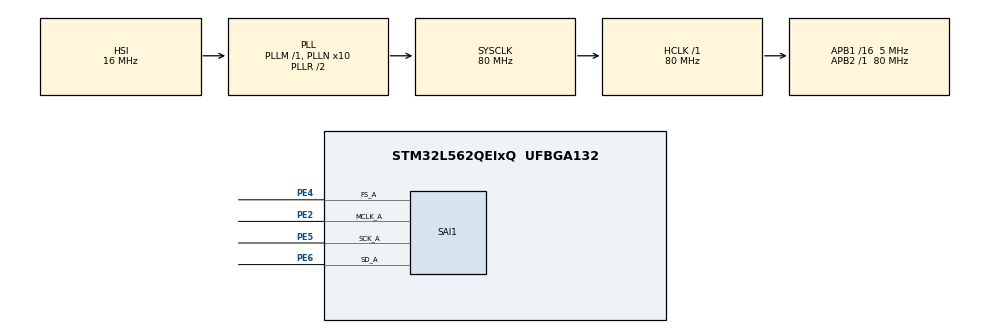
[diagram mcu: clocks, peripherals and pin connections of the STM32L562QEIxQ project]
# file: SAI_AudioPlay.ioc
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Dma.Request0=SAI1_A
Dma.SAI1_A.0.Channel_PRIV_NPRIV=DMA_CHANNEL_NPRIV_DISABLE
Dma.SAI1_A.0.Direction=DMA_MEMORY_TO_PERIPH
Dma.SAI1_A.0.EventEnable=DISABLE
Dma.SAI1_A.0.Instance=DMA2_Channel1
Dma.SAI1_A.0.MemDataAlignment=DMA_MDATAALIGN_HALFWORD
Dma.SAI1_A.0.MemInc=DMA_MINC_ENABLE
Dma.SAI1_A.0.Mode=DMA_CIRCULAR
Dma.SAI1_A.0.PeriphDataAlignment=DMA_PDATAALIGN_HALFWORD
Dma.SAI1_A.0.PeriphInc=DMA_PINC_DISABLE
Dma.SAI1_A.0.Polarity=HAL_DMAMUX_REQ_GEN_RISING
Dma.SAI1_A.0.Priority=DMA_PRIORITY_HIGH
Dma.SAI1_A.0.RequestNumber=1
Dma.SAI1_A.0.SignalID=NONE
Dma.SAI1_A.0.SyncEnable=DISABLE
Dma.SAI1_A.0.SyncPolarity=HAL_DMAMUX_SYNC_NO_EVENT
Dma.SAI1_A.0.SyncRequestNumber=1
Dma.SAI1_A.0.SyncSignalID=NONE
Mcu.Family=STM32L5
Mcu.Name=STM32L562QEIxQ
Mcu.Package=UFBGA132
NVIC.DMA2_Channel1_IRQn=true\:1\:0\:true\:false\:true\:true\:true\:true
NVIC.PriorityGroup=NVIC_PRIORITYGROUP_3
PE2.GPIO_Speed=GPIO_SPEED_FREQ_VERY_HIGH
PE2.Mode=SAI_A_MasterWithClock
PE2.Signal=SAI1_MCLK_A
PE4.GPIO_Speed=GPIO_SPEED_FREQ_VERY_HIGH
PE4.Mode=SAI_A_MasterWithClock
PE4.Signal=SAI1_FS_A
PE5.GPIO_Speed=GPIO_SPEED_FREQ_VERY_HIGH
PE5.Mode=SAI_A_MasterWithClock
PE5.Signal=SAI1_SCK_A
PE6.GPIO_Speed=GPIO_SPEED_FREQ_VERY_HIGH
PE6.Mode=SAI_A_MasterWithClock
PE6.Signal=SAI1_SD_A
ProjectManager.HeapSize=0x200
ProjectManager.StackSize=0x400
ProjectManager.TargetToolchain=EWARM V8.32
RCC.ADCFreq_Value=64500000
RCC.AHBFreq_Value=80000000
RCC.APB1CLKDivider=RCC_HCLK_DIV16
RCC.APB1Freq_Value=5000000
RCC.APB1TimFreq_Value=10000000
RCC.APB2Freq_Value=80000000
RCC.APB2TimFreq_Value=80000000
RCC.CK48CLockSelection=RCC_USBCLKSOURCE_MSI
RCC.CortexFreq_Value=80000000
RCC.HCLKFreq_Value=80000000
RCC.HSE_VALUE=16000000
RCC.HSI48_VALUE=48000000
RCC.HSI_VALUE=16000000
RCC.LSE_VALUE=32768
RCC.MSIClockRange=RCC_MSIRANGE_9
RCC.MSI_VALUE=24000000
RCC.PLLN=10
RCC.PLLSAI1M=8
RCC.PLLSAI1N=43
RCC.PLLSourceVirtual=RCC_PLLSOURCE_HSI
RCC.SYSCLKFreq_VALUE=80000000
RCC.SYSCLKSource=RCC_SYSCLKSOURCE_PLLCLK
RCC.USBFreq_Value=24000000
RCC.VCOOutputFreq_Value=160000000
SAI1.ActiveFrameLength-SAI_A_MasterWithClock=16
SAI1.AudioFrequency-SAI_A_MasterWithClock=SAI_AUDIO_FREQUENCY_22K
SAI1.AudioMode-SAI_A_MasterWithClock=SAI_MODEMASTER_TX
SAI1.ClockStrobing-SAI_A_MasterWithClock=SAI_CLOCKSTROBING_FALLINGEDGE
SAI1.CompandingMode-SAI_A_MasterWithClock=SAI_NOCOMPANDING
SAI1.DataSize-SAI_A_MasterWithClock=SAI_DATASIZE_16
SAI1.ErrorAudioFreq-SAI_A_MasterWithClock=63.6 %
SAI1.FIFOThreshold-SAI_A_MasterWithClock=SAI_FIFOTHRESHOLD_1QF
SAI1.FSDefinition-SAI_A_MasterWithClock=SAI_FS_CHANNEL_IDENTIFICATION
SAI1.FSOffset-SAI_A_MasterWithClock=SAI_FS_BEFOREFIRSTBIT
SAI1.FSPolarity-SAI_A_MasterWithClock=SAI_FS_ACTIVE_LOW
SAI1.FirstBit-SAI_A_MasterWithClock=SAI_FIRSTBIT_MSB
SAI1.FirstBitOffset-SAI_A_MasterWithClock=0
SAI1.FrameLength-SAI_A_MasterWithClock=32
SAI1.Instance-SAI_A_MasterWithClock=SAI$Index_Block_A
SAI1.MckOutput-SAI_A_MasterWithClock=SAI_MCK_OUTPUT_ENABLE
SAI1.MonoStereoMode-SAI_A_MasterWithClock=SAI_STEREOMODE
SAI1.NoDivider-SAI_A_MasterWithClock=SAI_MASTERDIVIDER_ENABLE
SAI1.OutputDrive-SAI_A_MasterWithClock=SAI_OUTPUTDRIVE_ENABLE
SAI1.Protocol-SAI_A_MasterWithClock=SAI_FREE_PROTOCOL
SAI1.RealAudioFreq-SAI_A_MasterWithClock=35.993 KHz
SAI1.SlotActive-SAI_A_MasterWithClock=0x00000003
SAI1.SlotNumber-SAI_A_MasterWithClock=2
SAI1.SlotSize-SAI_A_MasterWithClock=SAI_SLOTSIZE_DATASIZE
SAI1.Synchro_A=SAI_ASYNCHRONOUS
SAI1.TriState-SAI_A_MasterWithClock=SAI_OUTPUT_NOTRELEASED
SAI1.VirtualMode-SAI_A_MasterWithClock=VM_MASTER
SAI1.VirtualSlotActive-SAI_A_MasterWithClock=SAI_SLOT_USERSETTING
SAI1.VirtualSlotActive0-SAI_A_MasterWithClock=true
SAI1.VirtualSlotActive1-SAI_A_MasterWithClock=true
VP_ICACHE_VS_ICACHE.Mode=DirectMappedCache
VP_PWR_VS_DBSignals.Mode=DisableDeadBatterySignals
board=custom

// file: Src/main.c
/* USER CODE BEGIN Header */
/**
  ******************************************************************************
  * @file    SAI/SAI_AudioPlay/Src/stm32l5xx_main.c
  * @author  MCD Application Team
  * @brief   This sample code shows how to use SAI HAL API (SAI instance)
  *          to play an audio file using the DMA circular mode and a
  *          continuous buffer update.
  ******************************************************************************
  * @attention
  *
  * Copyright (c) 2019 STMicroelectronics.
  * All rights reserved.
  *
  * This software is licensed under terms that can be found in the LICENSE file
  * in the root directory of this software component.
  * If no LICENSE file comes with this software, it is provided AS-IS.
  *
  ******************************************************************************
  */
/* USER CODE END Header */
#include "main.h"

/* USER CODE BEGIN Includes */
#include "stm32l562e_discovery.h"
#include "stm32l562e_discovery_bus.h"
#include "audio.h"
#include "../Components/cs42l51/cs42l51.h"
/* USER CODE END Includes */

/* USER CODE BEGIN PD */
#define AUDIO_I2C_ADDRESS    0x94U
#define AUDIO_FREQUENCY_22K 22050U  /* Audio sample rate */
/* USER CODE END PD */

SAI_HandleTypeDef hsai_BlockA1;
DMA_HandleTypeDef hdma_sai1_a;

/* USER CODE BEGIN PV */
#define AUDIO_FILE_ADDRESS   0x08040000
#define AUDIO_FILE_SIZE      (180*1024)
#define PLAY_HEADER          0x2C
#define PLAY_BUFF_SIZE       4096

static void *comp_out_obj= {0};
AUDIO_Drv_t *audio_drv;
CS42L51_IO_t IOCtx;
uint32_t cs42l51_id;
static CS42L51_Object_t CS42L51Obj;
CS42L51_Init_t codec_init;
uint16_t PlayBuff[PLAY_BUFF_SIZE];
__IO int16_t UpdatePointer = -1;
/* USER CODE END PV */

void SystemClock_Config(void);
static void MX_GPIO_Init(void);
static void MX_DMA_Init(void);
static void MX_ICACHE_Init(void);
static void MX_SAI1_Init(void);
/* USER CODE BEGIN PFP */
static void CS42L51_PowerUp(void);
/* USER CODE END PFP */

int main(void)
{
  /* USER CODE BEGIN 1 */
  uint32_t PlaybackPosition = PLAY_BUFF_SIZE + PLAY_HEADER;

  /* STM32L5xx HAL library initialization:
       - Systick timer is configured by default as source of time base, but user
         can eventually implement his proper time base source (a general purpose
         timer for example or other time source), keeping in mind that Time base
         duration should be kept 1ms since PPP_TIMEOUT_VALUEs are defined and
         handled in milliseconds basis.
       - Set NVIC Group Priority to 3
       - Low Level Initialization
     */
  /* USER CODE END 1 */

  /* MCU Configuration--------------------------------------------------------*/

  /* Reset of all peripherals, Initializes the Flash interface and the Systick. */
  HAL_Init();

  /* Configure the system clock */
  SystemClock_Config();

  /* USER CODE BEGIN SysInit */

  /* Configure LED10 */
  BSP_LED_Init(LED10);

  /* Configure LED9 */
  BSP_LED_Init(LED9);

  /* USER CODE END SysInit */

  /* Initialize all configured peripherals */
  MX_GPIO_Init();
  MX_DMA_Init();
  MX_ICACHE_Init();
  MX_SAI1_Init();
  /* USER CODE BEGIN 2 */
  CS42L51_PowerUp();
  /* Configure the audio driver */
  IOCtx.Address     = AUDIO_I2C_ADDRESS;
  IOCtx.Init        = BSP_I2C1_Init;
  IOCtx.DeInit      = BSP_I2C1_DeInit;
  IOCtx.ReadReg     = BSP_I2C1_ReadReg;
  IOCtx.WriteReg    = BSP_I2C1_WriteReg;
  IOCtx.GetTick     = BSP_GetTick;
  if (CS42L51_RegisterBusIO(&CS42L51Obj, &IOCtx) != CS42L51_OK)
  {
    Error_Handler();
  }
  else
  {
    if(CS42L51_ReadID(&CS42L51Obj, &cs42l51_id) != CS42L51_OK)
    {
      Error_Handler();
    }
    else if ((cs42l51_id & CS42L51_ID_MASK) != CS42L51_ID)
    {
      Error_Handler();
    }
    /* Reset the Codec Registers */
    else if (CS42L51_Reset(&CS42L51Obj) != CS42L51_OK)
    {
      Error_Handler();
    }
  }

  audio_drv               = (AUDIO_Drv_t *)&CS42L51_Driver;
  comp_out_obj            = &CS42L51Obj;
  codec_init.Resolution   = CS42L51_RESOLUTION_16B;
  codec_init.Frequency    = AUDIO_FREQUENCY_22K;
  codec_init.InputDevice  = CS42L51_IN_NONE;
  codec_init.OutputDevice = CS42L51_OUT_HEADPHONE;
  codec_init.Volume       = 70;
  if(0 != audio_drv->Init(comp_out_obj, &codec_init))
  {
    Error_Handler();
  }

  /* Check if the buffer has been loaded in flash */
  if(*((uint64_t *)AUDIO_FILE_ADDRESS) != 0x017EFE2446464952 ) Error_Handler();

  /* Initialize the data buffer */
  for(int i=0; i < PLAY_BUFF_SIZE; i+=2)
  {
    PlayBuff[i]=*((__IO uint16_t *)(AUDIO_FILE_ADDRESS + PLAY_HEADER + i));
  }

  /* Start the playback */
  if(0 != audio_drv->Play(&CS42L51Obj))
  {
    Error_Handler();
  }

  if(HAL_OK != HAL_SAI_Transmit_DMA(&hsai_BlockA1, (uint8_t *)PlayBuff, PLAY_BUFF_SIZE))
  {
    Error_Handler();
  }
  /* USER CODE END 2 */

  /* Infinite loop */
  /* USER CODE BEGIN WHILE */
  while (1)
  {
    BSP_LED_Toggle(LED10);

    /* Wait a callback event */
    while(UpdatePointer==-1);

    int position = UpdatePointer;
    UpdatePointer = -1;

    /* Update the first or the second part of the buffer */
    for(int i = 0; i < PLAY_BUFF_SIZE/2; i++)
    {
      PlayBuff[i+position] = *(uint16_t *)(AUDIO_FILE_ADDRESS + PlaybackPosition);
      PlaybackPosition+=2;
    }

    /* check the end of the file */
    if((PlaybackPosition+PLAY_BUFF_SIZE/2) > AUDIO_FILE_SIZE)
    {
      PlaybackPosition = PLAY_HEADER;
    }

    if(UpdatePointer != -1)
    {
      /* Buffer update time is too long compare to the data transfer time */
      Error_Handler();
    }
    /* USER CODE END WHILE */

  }
}

void SystemClock_Config(void)
{
  RCC_OscInitTypeDef RCC_OscInitStruct = {0};
  RCC_ClkInitTypeDef RCC_ClkInitStruct = {0};

  /** Configure the main internal regulator output voltage
  */
  if (HAL_PWREx_ControlVoltageScaling(PWR_REGULATOR_VOLTAGE_SCALE1) != HAL_OK)
  {
    Error_Handler();
  }

  /** Initializes the RCC Oscillators according to the specified parameters
  * in the RCC_OscInitTypeDef structure.
  */
  RCC_OscInitStruct.OscillatorType = RCC_OSCILLATORTYPE_HSI|RCC_OSCILLATORTYPE_MSI;
  RCC_OscInitStruct.HSIState = RCC_HSI_ON;
  RCC_OscInitStruct.HSICalibrationValue = RCC_HSICALIBRATION_DEFAULT;
  RCC_OscInitStruct.MSIState = RCC_MSI_ON;
  RCC_OscInitStruct.MSICalibrationValue = RCC_MSICALIBRATION_DEFAULT;
  RCC_OscInitStruct.MSIClockRange = RCC_MSIRANGE_9;
  RCC_OscInitStruct.PLL.PLLState = RCC_PLL_ON;
  RCC_OscInitStruct.PLL.PLLSource = RCC_PLLSOURCE_HSI;
  RCC_OscInitStruct.PLL.PLLM = 1;
  RCC_OscInitStruct.PLL.PLLN = 10;
  RCC_OscInitStruct.PLL.PLLP = RCC_PLLP_DIV7;
  RCC_OscInitStruct.PLL.PLLQ = RCC_PLLQ_DIV2;
  RCC_OscInitStruct.PLL.PLLR = RCC_PLLR_DIV2;
  if (HAL_RCC_OscConfig(&RCC_OscInitStruct) != HAL_OK)
  {
    Error_Handler();
  }

  /** Initializes the CPU, AHB and APB buses clocks
  */
  RCC_ClkInitStruct.ClockType = RCC_CLOCKTYPE_HCLK|RCC_CLOCKTYPE_SYSCLK
                              |RCC_CLOCKTYPE_PCLK1|RCC_CLOCKTYPE_PCLK2;
  RCC_ClkInitStruct.SYSCLKSource = RCC_SYSCLKSOURCE_PLLCLK;
  RCC_ClkInitStruct.AHBCLKDivider = RCC_SYSCLK_DIV1;
  RCC_ClkInitStruct.APB1CLKDivider = RCC_HCLK_DIV16;
  RCC_ClkInitStruct.APB2CLKDivider = RCC_HCLK_DIV1;

  if (HAL_RCC_ClockConfig(&RCC_ClkInitStruct, FLASH_LATENCY_3) != HAL_OK)
  {
    Error_Handler();
  }
}

static void MX_ICACHE_Init(void)
{

  /** Enable instruction cache in 1-way (direct mapped cache)
  */
  if (HAL_ICACHE_ConfigAssociativityMode(ICACHE_1WAY) != HAL_OK)
  {
    Error_Handler();
  }
  if (HAL_ICACHE_Enable() != HAL_OK)
  {
    Error_Handler();
  }

}

static void MX_SAI1_Init(void)
{

  hsai_BlockA1.Instance = SAI1_Block_A;
  hsai_BlockA1.Init.Protocol = SAI_FREE_PROTOCOL;
  hsai_BlockA1.Init.AudioMode = SAI_MODEMASTER_TX;
  hsai_BlockA1.Init.DataSize = SAI_DATASIZE_16;
  hsai_BlockA1.Init.FirstBit = SAI_FIRSTBIT_MSB;
  hsai_BlockA1.Init.ClockStrobing = SAI_CLOCKSTROBING_FALLINGEDGE;
  hsai_BlockA1.Init.Synchro = SAI_ASYNCHRONOUS;
  hsai_BlockA1.Init.OutputDrive = SAI_OUTPUTDRIVE_ENABLE;
  hsai_BlockA1.Init.NoDivider = SAI_MASTERDIVIDER_ENABLE;
  hsai_BlockA1.Init.FIFOThreshold = SAI_FIFOTHRESHOLD_1QF;
  hsai_BlockA1.Init.AudioFrequency = SAI_AUDIO_FREQUENCY_22K;
  hsai_BlockA1.Init.SynchroExt = SAI_SYNCEXT_DISABLE;
  hsai_BlockA1.Init.MonoStereoMode = SAI_STEREOMODE;
  hsai_BlockA1.Init.CompandingMode = SAI_NOCOMPANDING;
  hsai_BlockA1.Init.TriState = SAI_OUTPUT_NOTRELEASED;
  hsai_BlockA1.Init.PdmInit.Activation = DISABLE;
  hsai_BlockA1.Init.PdmInit.MicPairsNbr = 1;
  hsai_BlockA1.Init.PdmInit.ClockEnable = SAI_PDM_CLOCK1_ENABLE;
  hsai_BlockA1.FrameInit.FrameLength = 32;
  hsai_BlockA1.FrameInit.ActiveFrameLength = 16;
  hsai_BlockA1.FrameInit.FSDefinition = SAI_FS_CHANNEL_IDENTIFICATION;
  hsai_BlockA1.FrameInit.FSPolarity = SAI_FS_ACTIVE_LOW;
  hsai_BlockA1.FrameInit.FSOffset = SAI_FS_BEFOREFIRSTBIT;
  hsai_BlockA1.SlotInit.FirstBitOffset = 0;
  hsai_BlockA1.SlotInit.SlotSize = SAI_SLOTSIZE_DATASIZE;
  hsai_BlockA1.SlotInit.SlotNumber = 2;
  hsai_BlockA1.SlotInit.SlotActive = 0x00000003;
  if (HAL_SAI_Init(&hsai_BlockA1) != HAL_OK)
  {
    Error_Handler();
  }

}

static void MX_DMA_Init(void)
{

  /* DMA controller clock enable */
  __HAL_RCC_DMAMUX1_CLK_ENABLE();
  __HAL_RCC_DMA2_CLK_ENABLE();

  /* DMA interrupt init */
  /* DMA2_Channel1_IRQn interrupt configuration */
  HAL_NVIC_SetPriority(DMA2_Channel1_IRQn, 1, 0);
  HAL_NVIC_EnableIRQ(DMA2_Channel1_IRQn);

}

static void MX_GPIO_Init(void)
{

  /* GPIO Ports Clock Enable */
  __HAL_RCC_GPIOE_CLK_ENABLE();

}

/* USER CODE BEGIN 4 */
/**
  * @brief Tx Transfer completed callbacks.
  * @param  hsai : pointer to a SAI_HandleTypeDef structure that contains
  *                the configuration information for SAI module.
  * @retval None
  */
void HAL_SAI_TxCpltCallback(SAI_HandleTypeDef *hsai)
{
  /* NOTE : This function Should not be modified, when the callback is needed,
            the HAL_SAI_TxCpltCallback could be implemented in the user file
   */
  UpdatePointer = PLAY_BUFF_SIZE/2;
}

/**
  * @brief Tx Transfer Half completed callbacks
  * @param  hsai : pointer to a SAI_HandleTypeDef structure that contains
  *                the configuration information for SAI module.
  * @retval None
  */
void HAL_SAI_TxHalfCpltCallback(SAI_HandleTypeDef *hsai)
{
  /* NOTE : This function Should not be modified, when the callback is needed,
            the HAL_SAI_TxHalfCpltCallback could be implenetd in the user file
   */
  UpdatePointer = 0;
}

static void CS42L51_PowerUp(void)
{
  GPIO_InitTypeDef GPIO_InitStruct = {0};

  /* Enable VddIO2 for GPIOG */
    __HAL_RCC_PWR_CLK_ENABLE();
    HAL_PWREx_EnableVddIO2();
  /* GPIO Ports Clock Enable */
  __HAL_RCC_GPIOG_CLK_ENABLE();

  /*Configure GPIO pin : PG1 */
  GPIO_InitStruct.Pin = GPIO_PIN_1;
  GPIO_InitStruct.Mode = GPIO_MODE_OUTPUT_PP;
  GPIO_InitStruct.Pull = GPIO_NOPULL;
  GPIO_InitStruct.Speed = GPIO_SPEED_FREQ_HIGH;
  HAL_GPIO_Init(GPIOG, &GPIO_InitStruct);
  /*Configure GPIO pin Output Level */
  HAL_GPIO_WritePin(GPIOG, GPIO_PIN_1, GPIO_PIN_SET);

   /* Wait 1ms according CS42L51 datasheet */
  HAL_Delay(1);

}

/* USER CODE END 4 */

void Error_Handler(void)
{
  /* USER CODE BEGIN Error_Handler_Debug */
  /* User can add his own implementation to report the HAL error return state */
  /* LED9 On in error case */
  BSP_LED_On(LED9);
  while(1)
  {
  }

  /* USER CODE END Error_Handler_Debug */
}

#ifdef  USE_FULL_ASSERT
/**
  * @brief  Reports the name of the source file and the source line number
  *         where the assert_param error has occurred.
  * @param  file: pointer to the source file name
  * @param  line: assert_param error line source number
  * @retval None
  */
void assert_failed(uint8_t *file, uint32_t line)
{
  /* USER CODE BEGIN 6 */
  /* User can add his own implementation to report the file name and line number,
     ex: printf("Wrong parameters value: file %s on line %d\r\n", file, line) */
  /* Infinite loop */
  while (1)
  {}
  /* USER CODE END 6 */
}
#endif /* USE_FULL_ASSERT */
